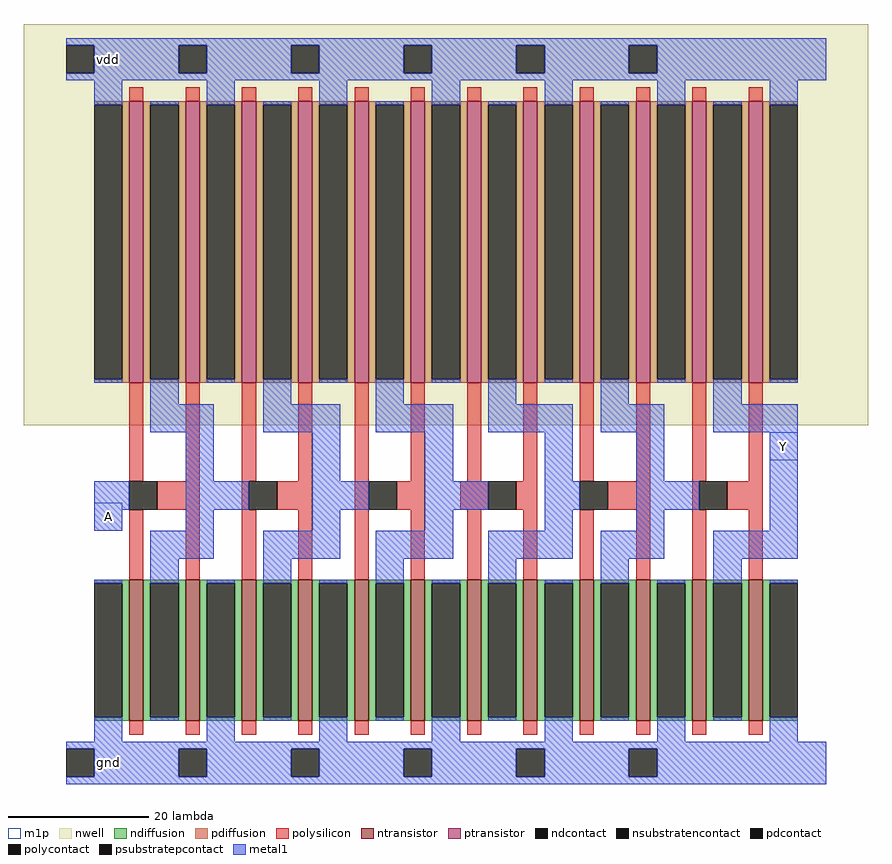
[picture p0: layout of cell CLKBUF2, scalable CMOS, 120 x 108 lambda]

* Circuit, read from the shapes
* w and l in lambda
.subckt CLKBUF2 A Y vdd gnd
M1 n1 A gnd gnd nfet w=20 l=2 m=2
M2 n2 n1 gnd gnd nfet w=20 l=2 m=2
M3 n3 n2 gnd gnd nfet w=20 l=2 m=2
M4 n4 n3 gnd gnd nfet w=20 l=2 m=2
M5 n5 n4 gnd gnd nfet w=20 l=2 m=2
M6 Y n5 gnd gnd nfet w=20 l=2 m=2
M7 n1 A vdd vdd pfet w=40 l=2 m=2
M8 n2 n1 vdd vdd pfet w=40 l=2 m=2
M9 n3 n2 vdd vdd pfet w=40 l=2 m=2
M10 n4 n3 vdd vdd pfet w=40 l=2 m=2
M11 n5 n4 vdd vdd pfet w=40 l=2 m=2
M12 Y n5 vdd vdd pfet w=40 l=2 m=2
.ends

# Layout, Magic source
magic
tech scmos
magscale 1 2
<< nwell >>
rect -16 96 224 210
<< ntransistor >>
rect 14 12 18 52
rect 30 12 34 52
rect 46 12 50 52
rect 62 12 66 52
rect 78 12 82 52
rect 94 12 98 52
rect 110 12 114 52
rect 126 12 130 52
rect 142 12 146 52
rect 158 12 162 52
rect 174 12 178 52
rect 190 12 194 52
<< ptransistor >>
rect 14 108 18 188
rect 30 108 34 188
rect 46 108 50 188
rect 62 108 66 188
rect 78 108 82 188
rect 94 108 98 188
rect 110 108 114 188
rect 126 108 130 188
rect 142 108 146 188
rect 158 108 162 188
rect 174 108 178 188
rect 190 108 194 188
<< ndiffusion >>
rect 4 51 14 52
rect 12 13 14 51
rect 4 12 14 13
rect 18 51 30 52
rect 18 13 20 51
rect 28 13 30 51
rect 18 12 30 13
rect 34 51 46 52
rect 34 13 36 51
rect 44 13 46 51
rect 34 12 46 13
rect 50 51 62 52
rect 50 13 52 51
rect 60 13 62 51
rect 50 12 62 13
rect 66 51 78 52
rect 66 13 68 51
rect 76 13 78 51
rect 66 12 78 13
rect 82 51 94 52
rect 82 13 84 51
rect 92 13 94 51
rect 82 12 94 13
rect 98 51 110 52
rect 98 13 100 51
rect 108 13 110 51
rect 98 12 110 13
rect 114 51 126 52
rect 114 13 116 51
rect 124 13 126 51
rect 114 12 126 13
rect 130 51 142 52
rect 130 13 132 51
rect 140 13 142 51
rect 130 12 142 13
rect 146 51 158 52
rect 146 13 148 51
rect 156 13 158 51
rect 146 12 158 13
rect 162 51 174 52
rect 162 13 164 51
rect 172 13 174 51
rect 162 12 174 13
rect 178 51 190 52
rect 178 13 180 51
rect 188 13 190 51
rect 178 12 190 13
rect 194 51 204 52
rect 194 13 196 51
rect 194 12 204 13
<< pdiffusion >>
rect 4 187 14 188
rect 12 109 14 187
rect 4 108 14 109
rect 18 187 30 188
rect 18 109 20 187
rect 28 109 30 187
rect 18 108 30 109
rect 34 187 46 188
rect 34 109 36 187
rect 44 109 46 187
rect 34 108 46 109
rect 50 187 62 188
rect 50 109 52 187
rect 60 109 62 187
rect 50 108 62 109
rect 66 187 78 188
rect 66 109 68 187
rect 76 109 78 187
rect 66 108 78 109
rect 82 187 94 188
rect 82 109 84 187
rect 92 109 94 187
rect 82 108 94 109
rect 98 187 110 188
rect 98 109 100 187
rect 108 109 110 187
rect 98 108 110 109
rect 114 187 126 188
rect 114 109 116 187
rect 124 109 126 187
rect 114 108 126 109
rect 130 187 142 188
rect 130 109 132 187
rect 140 109 142 187
rect 130 108 142 109
rect 146 187 158 188
rect 146 109 148 187
rect 156 109 158 187
rect 146 108 158 109
rect 162 187 174 188
rect 162 109 164 187
rect 172 109 174 187
rect 162 108 174 109
rect 178 187 190 188
rect 178 109 180 187
rect 188 109 190 187
rect 178 108 190 109
rect 194 187 204 188
rect 194 109 196 187
rect 194 108 204 109
<< ndcontact >>
rect 4 13 12 51
rect 20 13 28 51
rect 36 13 44 51
rect 52 13 60 51
rect 68 13 76 51
rect 84 13 92 51
rect 100 13 108 51
rect 116 13 124 51
rect 132 13 140 51
rect 148 13 156 51
rect 164 13 172 51
rect 180 13 188 51
rect 196 13 204 51
<< pdcontact >>
rect 4 109 12 187
rect 20 109 28 187
rect 36 109 44 187
rect 52 109 60 187
rect 68 109 76 187
rect 84 109 92 187
rect 100 109 108 187
rect 116 109 124 187
rect 132 109 140 187
rect 148 109 156 187
rect 164 109 172 187
rect 180 109 188 187
rect 196 109 204 187
<< psubstratepcontact >>
rect -4 -4 4 4
rect 28 -4 36 4
rect 60 -4 68 4
rect 92 -4 100 4
rect 124 -4 132 4
rect 156 -4 164 4
<< nsubstratencontact >>
rect -4 196 4 204
rect 28 196 36 204
rect 60 196 68 204
rect 92 196 100 204
rect 124 196 132 204
rect 156 196 164 204
<< polysilicon >>
rect 14 188 18 192
rect 30 188 34 192
rect 46 188 50 192
rect 62 188 66 192
rect 78 188 82 192
rect 94 188 98 192
rect 110 188 114 192
rect 126 188 130 192
rect 142 188 146 192
rect 158 188 162 192
rect 174 188 178 192
rect 190 188 194 192
rect 14 80 18 108
rect 30 80 34 108
rect 22 72 34 80
rect 14 52 18 72
rect 30 52 34 72
rect 46 80 50 108
rect 62 80 66 108
rect 46 72 48 80
rect 56 72 66 80
rect 46 52 50 72
rect 62 52 66 72
rect 78 52 82 108
rect 94 80 98 108
rect 110 80 114 108
rect 126 80 130 108
rect 90 72 98 80
rect 108 72 116 80
rect 124 72 130 80
rect 94 52 98 72
rect 110 52 114 72
rect 126 52 130 72
rect 142 80 146 108
rect 158 80 162 108
rect 150 72 162 80
rect 142 52 146 72
rect 158 52 162 72
rect 174 80 178 108
rect 190 80 194 108
rect 174 72 176 80
rect 184 72 194 80
rect 174 52 178 72
rect 190 52 194 72
rect 14 8 18 12
rect 30 8 34 12
rect 46 8 50 12
rect 62 8 66 12
rect 78 8 82 12
rect 94 8 98 12
rect 110 8 114 12
rect 126 8 130 12
rect 142 8 146 12
rect 158 8 162 12
rect 174 8 178 12
rect 190 8 194 12
<< polycontact >>
rect 14 72 22 80
rect 48 72 56 80
rect 82 72 90 80
rect 116 72 124 80
rect 142 72 150 80
rect 176 72 184 80
<< metal1 >>
rect -4 204 212 206
rect 4 196 28 204
rect 36 196 60 204
rect 68 196 92 204
rect 100 196 124 204
rect 132 196 156 204
rect 164 196 212 204
rect -4 194 212 196
rect 4 187 12 194
rect 4 108 12 109
rect 20 187 28 188
rect 20 102 28 109
rect 36 187 44 194
rect 36 108 44 109
rect 52 187 60 188
rect 52 102 60 109
rect 68 187 76 194
rect 68 108 76 109
rect 84 187 92 188
rect 84 102 92 109
rect 100 187 108 194
rect 100 108 108 109
rect 116 187 124 188
rect 116 102 124 109
rect 132 187 140 194
rect 132 108 140 109
rect 148 187 156 188
rect 148 102 156 109
rect 164 187 172 194
rect 164 108 172 109
rect 180 187 188 188
rect 180 102 188 109
rect 196 187 204 194
rect 196 108 204 109
rect 20 94 38 102
rect 52 94 74 102
rect 84 94 106 102
rect 116 94 140 102
rect 148 94 166 102
rect 180 94 204 102
rect 30 80 38 94
rect 66 80 74 94
rect 98 80 106 94
rect 132 80 140 94
rect 158 80 166 94
rect 4 72 14 80
rect 30 72 48 80
rect 66 72 82 80
rect 98 72 116 80
rect 132 72 142 80
rect 158 72 176 80
rect 4 66 12 72
rect 30 66 38 72
rect 66 66 74 72
rect 98 66 106 72
rect 132 66 140 72
rect 158 66 166 72
rect 196 66 204 94
rect 20 58 38 66
rect 52 58 74 66
rect 84 58 106 66
rect 116 58 140 66
rect 148 58 166 66
rect 180 58 204 66
rect 4 51 12 52
rect 4 6 12 13
rect 20 51 28 58
rect 20 12 28 13
rect 36 51 44 52
rect 36 6 44 13
rect 52 51 60 58
rect 52 12 60 13
rect 68 51 76 52
rect 68 6 76 13
rect 84 51 92 58
rect 84 12 92 13
rect 100 51 108 52
rect 100 6 108 13
rect 116 51 124 58
rect 116 12 124 13
rect 132 51 140 52
rect 132 6 140 13
rect 148 51 156 58
rect 148 12 156 13
rect 164 51 172 52
rect 164 6 172 13
rect 180 51 188 58
rect 180 12 188 13
rect 196 51 204 52
rect 196 6 204 13
rect -4 4 212 6
rect 4 -4 28 4
rect 36 -4 60 4
rect 68 -4 92 4
rect 100 -4 124 4
rect 132 -4 156 4
rect 164 -4 212 4
rect -4 -6 212 -4
<< m1p >>
rect 196 86 204 94
rect 4 66 12 74
<< labels >>
rlabel metal1 8 200 8 200 4 vdd
port 3 se
rlabel metal1 8 0 8 0 4 gnd
port 4 se
rlabel metal1 8 70 8 70 4 A
port 1 se
rlabel metal1 200 90 200 90 4 Y
port 2 se
<< end >>
